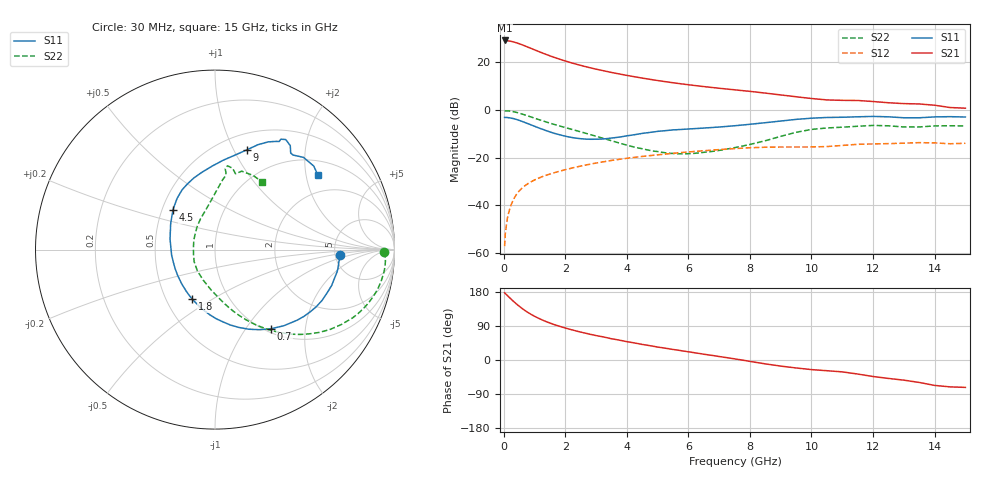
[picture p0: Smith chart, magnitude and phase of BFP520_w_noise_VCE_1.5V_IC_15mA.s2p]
! Infineon Technologies  Discrete & RF Semiconductors
! BFP520
! VCE =  1.5 V,  IC =  15 mA
! Common Emitter S-Parameters:  Oct 2015
# GHz  S  MA  R  50
!  f  S11  S21  S12  S22
! GHz  MAG  ANG  MAG  ANG  MAG  ANG  MAG  ANG
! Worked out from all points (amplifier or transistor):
!   109 points, 30 MHz to 15 GHz, reference 50 ohm
!   highest |S21| = 29.1 dB at 30 MHz (marker M1)
!   |S21| within 3 dB of that: start of sweep to 826.5 MHz
!   unconditionally stable (mu >= 1): 3.019 GHz to end of sweep
!   at 450 MHz: K = 0.29, MSG = 31.4 dB, |S12| = -34.8 dB
!   at 4 GHz: K = 1.09, MAG = 15.5 dB, |S12| = -20.3 dB
!   at 15 GHz: K = 1.27, MAG = 4.2 dB, |S12| = -14.0 dB
!   lowest NFmin = 1.81 dB at 900 MHz
!   S11 on the Smith chart (normalised r, x): 30 MHz: 5.48, -0.67; 700 MHz: 1.06, -1.32; 1.8 GHz: 0.67, -0.41; 4.5 GHz: 0.57, +0.28; 9 GHz: 0.67, +1.13; 15 GHz: 1.40, +2.34
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0.03  0.6954 -2.6  28.39 177.4  0.0014 93.0  0.9429 -0.8
0.05  0.6946 -4.1  28.15 175.3  0.0025 82.5  0.9483 -2.0
0.09  0.6925 -7.9  28.15 172.6  0.004 86.5  0.9516 -4.4
0.2  0.6801 -17.1  27.53 163.8  0.0086 82.8  0.942 -10.9
0.35  0.6479 -29.4  26.11 152.5  0.0145 77.2  0.9056 -19.1
0.5  0.6039 -40.6  24.28 142.2  0.0199 72.8  0.8549 -26.5
0.6  0.5722 -47.8  23.01 135.9  0.0232 70.3  0.8171 -30.8
0.7  0.541 -54.6  21.7 130.1  0.0261 68.1  0.779 -34.9
1  0.4534 -73.0  18.1 115.5  0.034 63.0  0.6709 -44.8
1.2  0.4044 -83.9  16.05 107.6  0.0387 60.6  0.6081 -50.1
1.5  0.3457 -99.8  13.55 97.6  0.0453 57.8  0.5287 -56.9
1.8  0.3036 -114.8  11.6 89.3  0.0517 55.6  0.4632 -62.7
2.2  0.265 -134.9  9.65 79.9  0.0601 52.7  0.3923 -69.7
2.6  0.2462 -154.5  8.212 71.7  0.0685 49.8  0.3324 -76.5
3.5  0.2575 166.7  6.074 56.1  0.0873 42.4  0.2259 -95.5
4.5  0.3216 136.9  4.627 41.1  0.1059 33.5  0.1536 -130.0
5.1  0.3593 125.0  4.024 33.0  0.1161 28.4  0.1305 -153.7
7.6  0.4711 90.6  2.589 1.7  0.1557 5.9  0.1663 125.2
9  0.5836 72.3  2.055 -16.1  0.1666 -8.3  0.279 93.9
10.5  0.6928 60.5  1.615 -28.3  0.1705 -17.1  0.418 81.7
13  0.6834 51.9  1.352 -53.2  0.2007 -37.9  0.438 74.9
15  0.7082 36.1  1.084 -72.3  0.1997 -54.0  0.4596 55.2
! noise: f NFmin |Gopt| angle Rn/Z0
0.45  1.82  0.2  1  0.28
0.9  1.81  0.19  5  0.3
1.9  1.97  0.18  8  0.27
2.4  1.97  0.14  17  0.27
3.5  1.91  0.1  38  0.28
